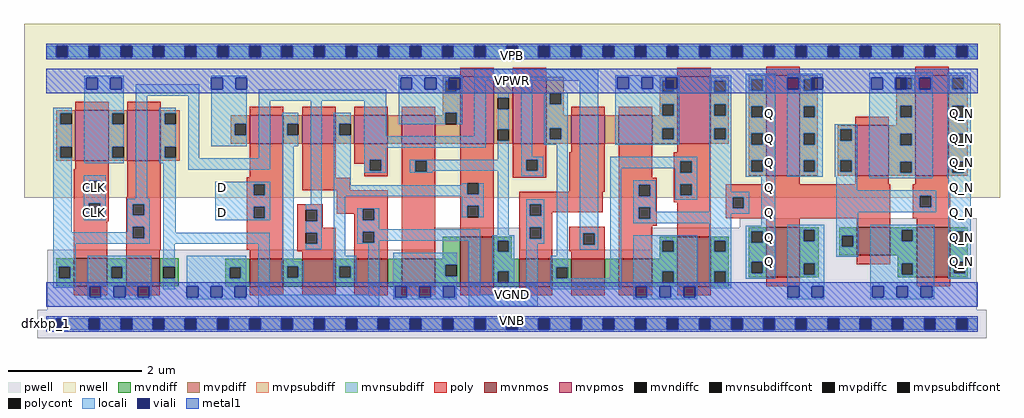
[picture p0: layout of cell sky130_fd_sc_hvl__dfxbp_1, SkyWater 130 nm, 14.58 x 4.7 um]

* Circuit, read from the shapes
.subckt sky130_fd_sc_hvl__dfxbp_1 CLK D VGND VNB VPB VPWR Q Q_N
XM1 VGND CLK n1 VNB sky130_fd_pr__nfet_g5v0d10v5 w=0.42 l=0.5
XM2 n2 n1 VGND VNB sky130_fd_pr__nfet_g5v0d10v5 w=0.42 l=0.5
XM3 n3 D VGND VNB sky130_fd_pr__nfet_g5v0d10v5 w=0.42 l=0.5
XM4 n4 n1 n3 VNB sky130_fd_pr__nfet_g5v0d10v5 w=0.42 l=0.5
XM5 n5 n2 n4 VNB sky130_fd_pr__nfet_g5v0d10v5 w=0.42 l=0.5
XM6 VGND n6 n5 VNB sky130_fd_pr__nfet_g5v0d10v5 w=0.42 l=0.5
XM7 n6 n4 VGND VNB sky130_fd_pr__nfet_g5v0d10v5 w=0.75 l=0.5
XM8 n7 n2 n6 VNB sky130_fd_pr__nfet_g5v0d10v5 w=0.42 l=0.5
XM9 n8 n1 n7 VNB sky130_fd_pr__nfet_g5v0d10v5 w=0.42 l=0.5
XM10 VGND n9 n8 VNB sky130_fd_pr__nfet_g5v0d10v5 w=0.42 l=0.5
XM11 n9 n7 VGND VNB sky130_fd_pr__nfet_g5v0d10v5 w=0.75 l=0.5
XM12 VGND n9 Q VNB sky130_fd_pr__nfet_g5v0d10v5 w=0.75 l=0.5
XM13 VGND n9 n10 VNB sky130_fd_pr__nfet_g5v0d10v5 w=0.42 l=0.5
XM14 Q_N n10 VGND VNB sky130_fd_pr__nfet_g5v0d10v5 w=0.75 l=0.5
XM15 VPWR CLK n1 VPB sky130_fd_pr__pfet_g5v0d10v5 w=0.75 l=0.5
XM16 n2 n1 VPWR VPB sky130_fd_pr__pfet_g5v0d10v5 w=0.75 l=0.5
XM17 n3 D VPWR VPB sky130_fd_pr__pfet_g5v0d10v5 w=0.42 l=0.5
XM18 n4 n2 n3 VPB sky130_fd_pr__pfet_g5v0d10v5 w=0.42 l=0.5
XM19 n11 n1 n4 VPB sky130_fd_pr__pfet_g5v0d10v5 w=0.42 l=0.5
XM20 VPWR n6 n11 VPB sky130_fd_pr__pfet_g5v0d10v5 w=0.42 l=0.5
XM21 n6 n4 VPWR VPB sky130_fd_pr__pfet_g5v0d10v5 w=1 l=0.5
XM22 n7 n1 n6 VPB sky130_fd_pr__pfet_g5v0d10v5 w=1 l=0.5
XM23 n12 n2 n7 VPB sky130_fd_pr__pfet_g5v0d10v5 w=0.42 l=0.5
XM24 VPWR n9 n12 VPB sky130_fd_pr__pfet_g5v0d10v5 w=0.42 l=0.5
XM25 n9 n7 VPWR VPB sky130_fd_pr__pfet_g5v0d10v5 w=1 l=0.5
XM26 VPWR n9 Q VPB sky130_fd_pr__pfet_g5v0d10v5 w=1.5 l=0.5
XM27 VPWR n9 n10 VPB sky130_fd_pr__pfet_g5v0d10v5 w=0.75 l=0.5
XM28 Q_N n10 VPWR VPB sky130_fd_pr__pfet_g5v0d10v5 w=1.5 l=0.5
.ends

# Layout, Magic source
magic
tech sky130B
magscale 1 2
<< nwell >>
rect -66 377 2850 897
<< pwell >>
rect 2073 287 2780 315
rect 4 221 422 222
rect 1159 221 1417 287
rect 1807 221 2780 287
rect 4 43 2780 221
rect -26 -43 2810 43
<< mvnmos >>
rect 83 112 183 196
rect 239 112 339 196
rect 609 111 709 195
rect 765 111 865 195
rect 921 111 1021 195
rect 1063 111 1163 195
rect 1238 111 1338 261
rect 1413 111 1513 195
rect 1569 111 1669 195
rect 1711 111 1811 195
rect 1886 111 1986 261
rect 2152 139 2252 289
rect 2422 205 2522 289
rect 2601 139 2701 289
<< mvpmos >>
rect 87 488 187 638
rect 243 488 343 638
rect 609 539 709 623
rect 765 539 865 623
rect 921 539 1021 623
rect 1063 539 1163 623
rect 1238 539 1338 739
rect 1394 539 1494 739
rect 1569 539 1669 623
rect 1711 539 1811 623
rect 1886 539 1986 739
rect 2152 443 2252 743
rect 2418 443 2518 593
rect 2597 443 2697 743
<< mvndiff >>
rect 30 171 83 196
rect 30 137 38 171
rect 72 137 83 171
rect 30 112 83 137
rect 183 171 239 196
rect 183 137 194 171
rect 228 137 239 171
rect 183 112 239 137
rect 339 171 396 196
rect 1185 195 1238 261
rect 339 137 350 171
rect 384 137 396 171
rect 339 112 396 137
rect 536 170 609 195
rect 536 136 548 170
rect 582 136 609 170
rect 536 111 609 136
rect 709 172 765 195
rect 709 138 720 172
rect 754 138 765 172
rect 709 111 765 138
rect 865 172 921 195
rect 865 138 876 172
rect 910 138 921 172
rect 865 111 921 138
rect 1021 111 1063 195
rect 1163 177 1238 195
rect 1163 143 1193 177
rect 1227 143 1238 177
rect 1163 111 1238 143
rect 1338 249 1391 261
rect 1338 215 1349 249
rect 1383 215 1391 249
rect 1338 195 1391 215
rect 2099 277 2152 289
rect 1833 249 1886 261
rect 1833 215 1841 249
rect 1875 215 1886 249
rect 1833 195 1886 215
rect 1338 157 1413 195
rect 1338 123 1349 157
rect 1383 123 1413 157
rect 1338 111 1413 123
rect 1513 170 1569 195
rect 1513 136 1524 170
rect 1558 136 1569 170
rect 1513 111 1569 136
rect 1669 111 1711 195
rect 1811 157 1886 195
rect 1811 123 1841 157
rect 1875 123 1886 157
rect 1811 111 1886 123
rect 1986 249 2039 261
rect 1986 215 1997 249
rect 2031 215 2039 249
rect 1986 157 2039 215
rect 1986 123 1997 157
rect 2031 123 2039 157
rect 2099 243 2107 277
rect 2141 243 2152 277
rect 2099 185 2152 243
rect 2099 151 2107 185
rect 2141 151 2152 185
rect 2099 139 2152 151
rect 2252 281 2309 289
rect 2252 247 2263 281
rect 2297 247 2309 281
rect 2252 181 2309 247
rect 2369 264 2422 289
rect 2369 230 2377 264
rect 2411 230 2422 264
rect 2369 205 2422 230
rect 2522 281 2601 289
rect 2522 247 2556 281
rect 2590 247 2601 281
rect 2522 205 2601 247
rect 2252 147 2263 181
rect 2297 147 2309 181
rect 2544 181 2601 205
rect 2252 139 2309 147
rect 2544 147 2556 181
rect 2590 147 2601 181
rect 2544 139 2601 147
rect 2701 277 2754 289
rect 2701 243 2712 277
rect 2746 243 2754 277
rect 2701 185 2754 243
rect 2701 151 2712 185
rect 2746 151 2754 185
rect 2701 139 2754 151
rect 1986 111 2039 123
<< mvpdiff >>
rect 1185 727 1238 739
rect 1185 693 1193 727
rect 1227 693 1238 727
rect 30 630 87 638
rect 30 596 42 630
rect 76 596 87 630
rect 30 530 87 596
rect 30 496 42 530
rect 76 496 87 530
rect 30 488 87 496
rect 187 630 243 638
rect 187 596 198 630
rect 232 596 243 630
rect 187 530 243 596
rect 187 496 198 530
rect 232 496 243 530
rect 187 488 243 496
rect 343 630 400 638
rect 343 596 354 630
rect 388 596 400 630
rect 1185 631 1238 693
rect 1185 623 1193 631
rect 343 530 400 596
rect 552 598 609 623
rect 552 564 564 598
rect 598 564 609 598
rect 552 539 609 564
rect 709 598 765 623
rect 709 564 720 598
rect 754 564 765 598
rect 709 539 765 564
rect 865 598 921 623
rect 865 564 876 598
rect 910 564 921 598
rect 865 539 921 564
rect 1021 539 1063 623
rect 1163 597 1193 623
rect 1227 597 1238 631
rect 1163 539 1238 597
rect 1338 675 1394 739
rect 1338 641 1349 675
rect 1383 641 1394 675
rect 1338 581 1394 641
rect 1338 547 1349 581
rect 1383 547 1394 581
rect 1338 539 1394 547
rect 1494 691 1547 739
rect 1494 657 1505 691
rect 1539 657 1547 691
rect 1494 623 1547 657
rect 1833 727 1886 739
rect 1833 693 1841 727
rect 1875 693 1886 727
rect 1833 656 1886 693
rect 1833 623 1841 656
rect 1494 585 1569 623
rect 1494 551 1505 585
rect 1539 551 1569 585
rect 1494 539 1569 551
rect 1669 539 1711 623
rect 1811 622 1841 623
rect 1875 622 1886 656
rect 1811 585 1886 622
rect 1811 551 1841 585
rect 1875 551 1886 585
rect 1811 539 1886 551
rect 1986 727 2039 739
rect 1986 693 1997 727
rect 2031 693 2039 727
rect 1986 656 2039 693
rect 1986 622 1997 656
rect 2031 622 2039 656
rect 1986 585 2039 622
rect 1986 551 1997 585
rect 2031 551 2039 585
rect 1986 539 2039 551
rect 2099 731 2152 743
rect 2099 697 2107 731
rect 2141 697 2152 731
rect 2099 651 2152 697
rect 2099 617 2107 651
rect 2141 617 2152 651
rect 2099 569 2152 617
rect 343 496 354 530
rect 388 496 400 530
rect 343 488 400 496
rect 2099 535 2107 569
rect 2141 535 2152 569
rect 2099 489 2152 535
rect 2099 455 2107 489
rect 2141 455 2152 489
rect 2099 443 2152 455
rect 2252 731 2305 743
rect 2252 697 2263 731
rect 2297 697 2305 731
rect 2252 651 2305 697
rect 2252 617 2263 651
rect 2297 617 2305 651
rect 2540 735 2597 743
rect 2540 701 2552 735
rect 2586 701 2597 735
rect 2540 652 2597 701
rect 2252 569 2305 617
rect 2540 618 2552 652
rect 2586 618 2597 652
rect 2540 593 2597 618
rect 2252 535 2263 569
rect 2297 535 2305 569
rect 2252 489 2305 535
rect 2252 455 2263 489
rect 2297 455 2305 489
rect 2252 443 2305 455
rect 2365 581 2418 593
rect 2365 547 2373 581
rect 2407 547 2418 581
rect 2365 489 2418 547
rect 2365 455 2373 489
rect 2407 455 2418 489
rect 2365 443 2418 455
rect 2518 568 2597 593
rect 2518 534 2552 568
rect 2586 534 2597 568
rect 2518 485 2597 534
rect 2518 451 2552 485
rect 2586 451 2597 485
rect 2518 443 2597 451
rect 2697 735 2754 743
rect 2697 701 2708 735
rect 2742 701 2754 735
rect 2697 652 2754 701
rect 2697 618 2708 652
rect 2742 618 2754 652
rect 2697 568 2754 618
rect 2697 534 2708 568
rect 2742 534 2754 568
rect 2697 485 2754 534
rect 2697 451 2708 485
rect 2742 451 2754 485
rect 2697 443 2754 451
<< mvndiffc >>
rect 38 137 72 171
rect 194 137 228 171
rect 350 137 384 171
rect 548 136 582 170
rect 720 138 754 172
rect 876 138 910 172
rect 1193 143 1227 177
rect 1349 215 1383 249
rect 1841 215 1875 249
rect 1349 123 1383 157
rect 1524 136 1558 170
rect 1841 123 1875 157
rect 1997 215 2031 249
rect 1997 123 2031 157
rect 2107 243 2141 277
rect 2107 151 2141 185
rect 2263 247 2297 281
rect 2377 230 2411 264
rect 2556 247 2590 281
rect 2263 147 2297 181
rect 2556 147 2590 181
rect 2712 243 2746 277
rect 2712 151 2746 185
<< mvpdiffc >>
rect 1193 693 1227 727
rect 42 596 76 630
rect 42 496 76 530
rect 198 596 232 630
rect 198 496 232 530
rect 354 596 388 630
rect 564 564 598 598
rect 720 564 754 598
rect 876 564 910 598
rect 1193 597 1227 631
rect 1349 641 1383 675
rect 1349 547 1383 581
rect 1505 657 1539 691
rect 1841 693 1875 727
rect 1505 551 1539 585
rect 1841 622 1875 656
rect 1841 551 1875 585
rect 1997 693 2031 727
rect 1997 622 2031 656
rect 1997 551 2031 585
rect 2107 697 2141 731
rect 2107 617 2141 651
rect 354 496 388 530
rect 2107 535 2141 569
rect 2107 455 2141 489
rect 2263 697 2297 731
rect 2263 617 2297 651
rect 2552 701 2586 735
rect 2552 618 2586 652
rect 2263 535 2297 569
rect 2263 455 2297 489
rect 2373 547 2407 581
rect 2373 455 2407 489
rect 2552 534 2586 568
rect 2552 451 2586 485
rect 2708 701 2742 735
rect 2708 618 2742 652
rect 2708 534 2742 568
rect 2708 451 2742 485
<< mvpsubdiff >>
rect 0 -17 31 17
rect 65 -17 127 17
rect 161 -17 223 17
rect 257 -17 319 17
rect 353 -17 415 17
rect 449 -17 511 17
rect 545 -17 607 17
rect 641 -17 703 17
rect 737 -17 799 17
rect 833 -17 895 17
rect 929 -17 991 17
rect 1025 -17 1087 17
rect 1121 -17 1183 17
rect 1217 -17 1279 17
rect 1313 -17 1375 17
rect 1409 -17 1471 17
rect 1505 -17 1567 17
rect 1601 -17 1663 17
rect 1697 -17 1759 17
rect 1793 -17 1855 17
rect 1889 -17 1951 17
rect 1985 -17 2047 17
rect 2081 -17 2143 17
rect 2177 -17 2239 17
rect 2273 -17 2335 17
rect 2369 -17 2431 17
rect 2465 -17 2527 17
rect 2561 -17 2623 17
rect 2657 -17 2719 17
rect 2753 -17 2784 17
<< mvnsubdiff >>
rect 0 797 31 831
rect 65 797 127 831
rect 161 797 223 831
rect 257 797 319 831
rect 353 797 415 831
rect 449 797 511 831
rect 545 797 607 831
rect 641 797 703 831
rect 737 797 799 831
rect 833 797 895 831
rect 929 797 991 831
rect 1025 797 1087 831
rect 1121 797 1183 831
rect 1217 797 1279 831
rect 1313 797 1375 831
rect 1409 797 1471 831
rect 1505 797 1567 831
rect 1601 797 1663 831
rect 1697 797 1759 831
rect 1793 797 1855 831
rect 1889 797 1951 831
rect 1985 797 2047 831
rect 2081 797 2143 831
rect 2177 797 2239 831
rect 2273 797 2335 831
rect 2369 797 2431 831
rect 2465 797 2527 831
rect 2561 797 2623 831
rect 2657 797 2719 831
rect 2753 797 2784 831
<< mvpsubdiffcont >>
rect 31 -17 65 17
rect 127 -17 161 17
rect 223 -17 257 17
rect 319 -17 353 17
rect 415 -17 449 17
rect 511 -17 545 17
rect 607 -17 641 17
rect 703 -17 737 17
rect 799 -17 833 17
rect 895 -17 929 17
rect 991 -17 1025 17
rect 1087 -17 1121 17
rect 1183 -17 1217 17
rect 1279 -17 1313 17
rect 1375 -17 1409 17
rect 1471 -17 1505 17
rect 1567 -17 1601 17
rect 1663 -17 1697 17
rect 1759 -17 1793 17
rect 1855 -17 1889 17
rect 1951 -17 1985 17
rect 2047 -17 2081 17
rect 2143 -17 2177 17
rect 2239 -17 2273 17
rect 2335 -17 2369 17
rect 2431 -17 2465 17
rect 2527 -17 2561 17
rect 2623 -17 2657 17
rect 2719 -17 2753 17
<< mvnsubdiffcont >>
rect 31 797 65 831
rect 127 797 161 831
rect 223 797 257 831
rect 319 797 353 831
rect 415 797 449 831
rect 511 797 545 831
rect 607 797 641 831
rect 703 797 737 831
rect 799 797 833 831
rect 895 797 929 831
rect 991 797 1025 831
rect 1087 797 1121 831
rect 1183 797 1217 831
rect 1279 797 1313 831
rect 1375 797 1409 831
rect 1471 797 1505 831
rect 1567 797 1601 831
rect 1663 797 1697 831
rect 1759 797 1793 831
rect 1855 797 1889 831
rect 1951 797 1985 831
rect 2047 797 2081 831
rect 2143 797 2177 831
rect 2239 797 2273 831
rect 2335 797 2369 831
rect 2431 797 2465 831
rect 2527 797 2561 831
rect 2623 797 2657 831
rect 2719 797 2753 831
<< poly >>
rect 1238 739 1338 765
rect 1394 739 1494 765
rect 1886 739 1986 765
rect 2152 743 2252 769
rect 2597 743 2697 769
rect 87 638 187 664
rect 243 638 343 664
rect 609 623 709 649
rect 765 623 865 649
rect 921 623 1021 649
rect 1063 623 1163 649
rect 1569 623 1669 649
rect 1711 623 1811 649
rect 87 462 187 488
rect 83 428 187 462
rect 83 394 128 428
rect 162 394 187 428
rect 83 360 187 394
rect 243 378 343 488
rect 609 438 709 539
rect 83 326 128 360
rect 162 326 187 360
rect 83 306 187 326
rect 239 358 343 378
rect 239 324 259 358
rect 293 324 343 358
rect 83 196 183 306
rect 239 290 343 324
rect 239 256 259 290
rect 293 256 343 290
rect 239 222 343 256
rect 600 418 709 438
rect 600 384 620 418
rect 654 384 709 418
rect 765 437 865 539
rect 921 491 1021 539
rect 921 479 967 491
rect 951 457 967 479
rect 1001 457 1021 491
rect 951 441 1021 457
rect 1063 488 1163 539
rect 1063 454 1103 488
rect 1137 454 1163 488
rect 765 399 909 437
rect 600 350 709 384
rect 600 316 620 350
rect 654 316 709 350
rect 239 196 339 222
rect 600 221 709 316
rect 609 195 709 221
rect 751 341 826 357
rect 751 307 776 341
rect 810 307 826 341
rect 868 344 1021 399
rect 868 329 946 344
rect 751 287 826 307
rect 921 310 946 329
rect 980 310 1021 344
rect 751 273 865 287
rect 751 239 776 273
rect 810 239 865 273
rect 751 217 865 239
rect 765 195 865 217
rect 921 276 1021 310
rect 921 242 946 276
rect 980 242 1021 276
rect 921 195 1021 242
rect 1063 195 1163 454
rect 1238 421 1338 539
rect 1394 491 1494 539
rect 1569 513 1669 539
rect 1394 457 1435 491
rect 1469 457 1494 491
rect 1394 437 1494 457
rect 1238 387 1258 421
rect 1292 387 1338 421
rect 1563 395 1669 513
rect 1711 436 1811 539
rect 1886 513 1986 539
rect 1875 486 1986 513
rect 1875 452 1895 486
rect 1929 452 1986 486
rect 1711 416 1825 436
rect 1238 353 1338 387
rect 1238 319 1258 353
rect 1292 319 1338 353
rect 1238 261 1338 319
rect 1413 357 1663 395
rect 1413 323 1445 357
rect 1479 333 1663 357
rect 1711 382 1771 416
rect 1805 382 1825 416
rect 1711 348 1825 382
rect 1875 418 1986 452
rect 2418 593 2518 619
rect 1875 384 1895 418
rect 1929 384 1986 418
rect 2152 417 2252 443
rect 2418 417 2518 443
rect 2597 417 2697 443
rect 1875 364 1986 384
rect 1479 323 1513 333
rect 1413 289 1513 323
rect 1711 314 1771 348
rect 1805 314 1825 348
rect 1711 294 1825 314
rect 83 86 183 112
rect 239 86 339 112
rect 1413 255 1445 289
rect 1479 255 1513 289
rect 1413 195 1513 255
rect 1563 271 1669 291
rect 1563 237 1605 271
rect 1639 237 1669 271
rect 1563 217 1669 237
rect 1569 195 1669 217
rect 1711 195 1811 294
rect 1886 261 1986 364
rect 2031 379 2522 417
rect 2031 345 2051 379
rect 2085 345 2522 379
rect 2031 315 2522 345
rect 2590 383 2701 417
rect 2590 349 2610 383
rect 2644 349 2701 383
rect 2590 315 2701 349
rect 2152 289 2252 315
rect 2422 289 2522 315
rect 2601 289 2701 315
rect 2422 179 2522 205
rect 2152 113 2252 139
rect 2601 113 2701 139
rect 609 85 709 111
rect 765 85 865 111
rect 921 85 1021 111
rect 1063 85 1163 111
rect 1238 85 1338 111
rect 1413 85 1513 111
rect 1569 85 1669 111
rect 1711 85 1811 111
rect 1886 85 1986 111
<< polycont >>
rect 128 394 162 428
rect 128 326 162 360
rect 259 324 293 358
rect 259 256 293 290
rect 620 384 654 418
rect 967 457 1001 491
rect 1103 454 1137 488
rect 620 316 654 350
rect 776 307 810 341
rect 946 310 980 344
rect 776 239 810 273
rect 946 242 980 276
rect 1435 457 1469 491
rect 1258 387 1292 421
rect 1895 452 1929 486
rect 1258 319 1292 353
rect 1445 323 1479 357
rect 1771 382 1805 416
rect 1895 384 1929 418
rect 1771 314 1805 348
rect 1445 255 1479 289
rect 1605 237 1639 271
rect 2051 345 2085 379
rect 2610 349 2644 383
<< locali >>
rect 0 797 31 831
rect 65 797 127 831
rect 161 797 223 831
rect 257 797 319 831
rect 353 797 415 831
rect 449 797 511 831
rect 545 797 607 831
rect 641 797 703 831
rect 737 797 799 831
rect 833 797 895 831
rect 929 797 991 831
rect 1025 797 1087 831
rect 1121 797 1183 831
rect 1217 797 1279 831
rect 1313 797 1375 831
rect 1409 797 1471 831
rect 1505 797 1567 831
rect 1601 797 1663 831
rect 1697 797 1759 831
rect 1793 797 1855 831
rect 1889 797 1951 831
rect 1985 797 2047 831
rect 2081 797 2143 831
rect 2177 797 2239 831
rect 2273 797 2335 831
rect 2369 797 2431 831
rect 2465 797 2527 831
rect 2561 797 2623 831
rect 2657 797 2719 831
rect 2753 797 2784 831
rect 114 735 232 741
rect 114 701 120 735
rect 154 701 192 735
rect 226 701 232 735
rect 494 735 600 741
rect 22 630 76 646
rect 22 596 42 630
rect 22 530 76 596
rect 22 496 42 530
rect 22 274 76 496
rect 114 630 232 701
rect 114 596 198 630
rect 114 530 232 596
rect 114 496 198 530
rect 114 480 232 496
rect 268 682 458 716
rect 112 428 178 444
rect 112 394 128 428
rect 162 394 178 428
rect 112 360 178 394
rect 268 374 302 682
rect 338 630 388 646
rect 338 596 354 630
rect 338 530 388 596
rect 338 496 354 530
rect 338 480 388 496
rect 112 326 128 360
rect 162 326 178 360
rect 112 310 178 326
rect 243 358 309 374
rect 243 324 259 358
rect 293 324 309 358
rect 243 290 309 324
rect 243 274 259 290
rect 22 256 259 274
rect 293 256 309 290
rect 22 240 309 256
rect 350 273 388 480
rect 424 495 458 682
rect 528 701 566 735
rect 1053 735 1243 743
rect 1053 701 1059 735
rect 1093 701 1131 735
rect 1165 727 1203 735
rect 1165 701 1193 727
rect 1237 701 1243 735
rect 494 598 600 701
rect 494 564 564 598
rect 598 564 600 598
rect 494 531 600 564
rect 636 667 1017 701
rect 636 495 670 667
rect 424 461 670 495
rect 706 598 754 631
rect 706 564 720 598
rect 706 531 754 564
rect 505 418 670 425
rect 505 384 620 418
rect 654 384 670 418
rect 505 350 670 384
rect 505 316 620 350
rect 654 316 670 350
rect 505 309 670 316
rect 22 171 88 240
rect 350 239 668 273
rect 22 137 38 171
rect 72 137 88 171
rect 22 108 88 137
rect 124 171 314 204
rect 124 137 194 171
rect 228 137 314 171
rect 124 113 314 137
rect 124 79 130 113
rect 164 79 202 113
rect 236 79 274 113
rect 308 79 314 113
rect 350 171 384 239
rect 350 104 384 137
rect 420 170 598 203
rect 420 136 548 170
rect 582 136 598 170
rect 420 113 598 136
rect 124 73 314 79
rect 454 79 492 113
rect 526 79 564 113
rect 420 73 598 79
rect 634 87 668 239
rect 706 187 740 531
rect 790 357 824 667
rect 776 341 824 357
rect 810 307 824 341
rect 776 273 824 307
rect 810 239 824 273
rect 776 223 824 239
rect 860 598 910 631
rect 860 564 876 598
rect 860 415 910 564
rect 951 561 1017 667
rect 1053 693 1193 701
rect 1227 693 1243 701
rect 1053 631 1243 693
rect 1053 597 1193 631
rect 1227 597 1243 631
rect 1279 727 1649 761
rect 1279 561 1313 727
rect 951 527 1313 561
rect 1349 675 1383 691
rect 1349 581 1383 641
rect 951 491 1017 527
rect 1349 491 1383 547
rect 951 457 967 491
rect 1001 457 1017 491
rect 951 451 1017 457
rect 1087 488 1383 491
rect 1087 454 1103 488
rect 1137 457 1383 488
rect 1137 454 1153 457
rect 1087 451 1153 454
rect 1242 415 1258 421
rect 860 387 1258 415
rect 1292 387 1308 421
rect 860 381 1308 387
rect 860 203 894 381
rect 1242 353 1308 381
rect 930 344 996 345
rect 930 310 946 344
rect 980 310 996 344
rect 1242 319 1258 353
rect 1292 319 1308 353
rect 930 283 996 310
rect 930 276 1297 283
rect 930 242 946 276
rect 980 249 1297 276
rect 1349 265 1383 457
rect 1419 499 1453 727
rect 1489 657 1505 691
rect 1539 657 1559 691
rect 1489 585 1559 657
rect 1489 551 1505 585
rect 1539 551 1559 585
rect 1489 535 1559 551
rect 1419 491 1485 499
rect 1419 457 1435 491
rect 1469 457 1485 491
rect 1419 441 1485 457
rect 1435 357 1489 373
rect 1435 323 1445 357
rect 1479 323 1489 357
rect 1435 289 1489 323
rect 980 242 996 249
rect 930 239 996 242
rect 704 172 770 187
rect 704 138 720 172
rect 754 138 770 172
rect 704 123 770 138
rect 860 172 926 203
rect 860 138 876 172
rect 910 138 926 172
rect 860 123 926 138
rect 962 87 996 239
rect 634 53 996 87
rect 1037 177 1227 213
rect 1037 143 1193 177
rect 1037 113 1227 143
rect 1037 79 1043 113
rect 1077 79 1115 113
rect 1149 79 1187 113
rect 1221 79 1227 113
rect 1037 73 1227 79
rect 1263 87 1297 249
rect 1333 249 1399 265
rect 1333 215 1349 249
rect 1383 215 1399 249
rect 1333 157 1399 215
rect 1333 123 1349 157
rect 1383 123 1399 157
rect 1435 255 1445 289
rect 1479 255 1489 289
rect 1435 239 1489 255
rect 1435 87 1469 239
rect 1525 203 1559 535
rect 1595 271 1649 727
rect 1701 737 1891 743
rect 1701 703 1707 737
rect 1741 703 1779 737
rect 1813 727 1851 737
rect 1813 703 1841 727
rect 1885 703 1891 737
rect 1701 693 1841 703
rect 1875 693 1891 703
rect 1701 656 1891 693
rect 1701 622 1841 656
rect 1875 622 1891 656
rect 1701 585 1891 622
rect 1701 551 1841 585
rect 1875 551 1891 585
rect 1701 535 1891 551
rect 1981 727 2047 743
rect 1981 693 1997 727
rect 2031 693 2047 727
rect 1981 656 2047 693
rect 1981 622 1997 656
rect 2031 622 2047 656
rect 1981 585 2047 622
rect 1981 551 1997 585
rect 2031 551 2047 585
rect 1595 237 1605 271
rect 1639 237 1649 271
rect 1595 221 1649 237
rect 1685 486 1945 499
rect 1685 465 1895 486
rect 1508 170 1559 203
rect 1508 136 1524 170
rect 1558 137 1559 170
rect 1685 137 1719 465
rect 1879 452 1895 465
rect 1929 452 1945 486
rect 1755 416 1821 429
rect 1755 382 1771 416
rect 1805 382 1821 416
rect 1755 348 1821 382
rect 1879 418 1945 452
rect 1879 384 1895 418
rect 1929 384 1945 418
rect 1879 371 1945 384
rect 1981 395 2047 551
rect 2091 731 2178 747
rect 2091 697 2107 731
rect 2141 697 2178 731
rect 2091 651 2178 697
rect 2091 617 2107 651
rect 2141 617 2178 651
rect 2091 569 2178 617
rect 2091 535 2107 569
rect 2141 535 2178 569
rect 2091 489 2178 535
rect 2091 455 2107 489
rect 2141 455 2178 489
rect 2091 439 2178 455
rect 2214 735 2321 747
rect 2248 731 2286 735
rect 2248 701 2263 731
rect 2320 701 2321 735
rect 2214 697 2263 701
rect 2297 697 2321 701
rect 2214 651 2321 697
rect 2214 617 2263 651
rect 2297 617 2321 651
rect 2214 569 2321 617
rect 2459 735 2649 751
rect 2459 701 2465 735
rect 2499 701 2537 735
rect 2586 701 2609 735
rect 2643 701 2649 735
rect 2459 652 2649 701
rect 2459 618 2552 652
rect 2586 618 2649 652
rect 2214 535 2263 569
rect 2297 535 2321 569
rect 2214 489 2321 535
rect 2214 455 2263 489
rect 2297 455 2321 489
rect 2214 439 2321 455
rect 2357 581 2423 597
rect 2357 547 2373 581
rect 2407 547 2423 581
rect 2357 489 2423 547
rect 2357 455 2373 489
rect 2407 455 2423 489
rect 2357 439 2423 455
rect 1981 379 2101 395
rect 1755 314 1771 348
rect 1805 335 1821 348
rect 1981 345 2051 379
rect 2085 345 2101 379
rect 1981 335 2101 345
rect 1805 329 2101 335
rect 1805 314 2047 329
rect 1755 301 2047 314
rect 1558 136 1719 137
rect 1508 103 1719 136
rect 1755 249 1945 265
rect 1755 215 1841 249
rect 1875 215 1945 249
rect 1755 157 1945 215
rect 1755 123 1841 157
rect 1875 123 1945 157
rect 1755 113 1945 123
rect 1263 53 1469 87
rect 1755 79 1761 113
rect 1795 79 1833 113
rect 1867 79 1905 113
rect 1939 79 1945 113
rect 1981 249 2047 301
rect 2137 293 2178 439
rect 2361 399 2423 439
rect 2459 568 2649 618
rect 2459 534 2552 568
rect 2586 534 2649 568
rect 2459 485 2649 534
rect 2459 451 2552 485
rect 2586 451 2649 485
rect 2459 435 2649 451
rect 2692 735 2762 751
rect 2692 701 2708 735
rect 2742 701 2762 735
rect 2692 652 2762 701
rect 2692 618 2708 652
rect 2742 618 2762 652
rect 2692 568 2762 618
rect 2692 534 2708 568
rect 2742 534 2762 568
rect 2692 485 2762 534
rect 2692 451 2708 485
rect 2742 451 2762 485
rect 2692 435 2762 451
rect 2361 383 2660 399
rect 2361 349 2610 383
rect 2644 349 2660 383
rect 2361 333 2660 349
rect 1981 215 1997 249
rect 2031 215 2047 249
rect 1981 157 2047 215
rect 1981 123 1997 157
rect 2031 123 2047 157
rect 2091 277 2178 293
rect 2091 243 2107 277
rect 2141 243 2178 277
rect 2091 185 2178 243
rect 2091 151 2107 185
rect 2141 151 2178 185
rect 2091 135 2178 151
rect 2214 281 2325 297
rect 2214 247 2263 281
rect 2297 247 2325 281
rect 2214 181 2325 247
rect 2361 264 2427 333
rect 2361 230 2377 264
rect 2411 230 2427 264
rect 2361 201 2427 230
rect 2463 281 2653 297
rect 2463 247 2556 281
rect 2590 247 2653 281
rect 2214 147 2263 181
rect 2297 147 2325 181
rect 1981 107 2047 123
rect 2214 113 2325 147
rect 1755 73 1945 79
rect 2214 79 2216 113
rect 2250 79 2288 113
rect 2322 79 2325 113
rect 2214 73 2325 79
rect 2463 181 2653 247
rect 2463 147 2556 181
rect 2590 147 2653 181
rect 2463 113 2653 147
rect 2696 277 2762 435
rect 2696 243 2712 277
rect 2746 243 2762 277
rect 2696 185 2762 243
rect 2696 151 2712 185
rect 2746 151 2762 185
rect 2696 135 2762 151
rect 2463 79 2469 113
rect 2503 79 2541 113
rect 2575 79 2613 113
rect 2647 79 2653 113
rect 2463 73 2653 79
rect 0 -17 31 17
rect 65 -17 127 17
rect 161 -17 223 17
rect 257 -17 319 17
rect 353 -17 415 17
rect 449 -17 511 17
rect 545 -17 607 17
rect 641 -17 703 17
rect 737 -17 799 17
rect 833 -17 895 17
rect 929 -17 991 17
rect 1025 -17 1087 17
rect 1121 -17 1183 17
rect 1217 -17 1279 17
rect 1313 -17 1375 17
rect 1409 -17 1471 17
rect 1505 -17 1567 17
rect 1601 -17 1663 17
rect 1697 -17 1759 17
rect 1793 -17 1855 17
rect 1889 -17 1951 17
rect 1985 -17 2047 17
rect 2081 -17 2143 17
rect 2177 -17 2239 17
rect 2273 -17 2335 17
rect 2369 -17 2431 17
rect 2465 -17 2527 17
rect 2561 -17 2623 17
rect 2657 -17 2719 17
rect 2753 -17 2784 17
<< viali >>
rect 31 797 65 831
rect 127 797 161 831
rect 223 797 257 831
rect 319 797 353 831
rect 415 797 449 831
rect 511 797 545 831
rect 607 797 641 831
rect 703 797 737 831
rect 799 797 833 831
rect 895 797 929 831
rect 991 797 1025 831
rect 1087 797 1121 831
rect 1183 797 1217 831
rect 1279 797 1313 831
rect 1375 797 1409 831
rect 1471 797 1505 831
rect 1567 797 1601 831
rect 1663 797 1697 831
rect 1759 797 1793 831
rect 1855 797 1889 831
rect 1951 797 1985 831
rect 2047 797 2081 831
rect 2143 797 2177 831
rect 2239 797 2273 831
rect 2335 797 2369 831
rect 2431 797 2465 831
rect 2527 797 2561 831
rect 2623 797 2657 831
rect 2719 797 2753 831
rect 120 701 154 735
rect 192 701 226 735
rect 494 701 528 735
rect 566 701 600 735
rect 1059 701 1093 735
rect 1131 701 1165 735
rect 1203 727 1237 735
rect 1203 701 1227 727
rect 1227 701 1237 727
rect 130 79 164 113
rect 202 79 236 113
rect 274 79 308 113
rect 420 79 454 113
rect 492 79 526 113
rect 564 79 598 113
rect 1043 79 1077 113
rect 1115 79 1149 113
rect 1187 79 1221 113
rect 1707 703 1741 737
rect 1779 703 1813 737
rect 1851 727 1885 737
rect 1851 703 1875 727
rect 1875 703 1885 727
rect 2214 701 2248 735
rect 2286 731 2320 735
rect 2286 701 2297 731
rect 2297 701 2320 731
rect 2465 701 2499 735
rect 2537 701 2552 735
rect 2552 701 2571 735
rect 2609 701 2643 735
rect 1761 79 1795 113
rect 1833 79 1867 113
rect 1905 79 1939 113
rect 2216 79 2250 113
rect 2288 79 2322 113
rect 2469 79 2503 113
rect 2541 79 2575 113
rect 2613 79 2647 113
rect 31 -17 65 17
rect 127 -17 161 17
rect 223 -17 257 17
rect 319 -17 353 17
rect 415 -17 449 17
rect 511 -17 545 17
rect 607 -17 641 17
rect 703 -17 737 17
rect 799 -17 833 17
rect 895 -17 929 17
rect 991 -17 1025 17
rect 1087 -17 1121 17
rect 1183 -17 1217 17
rect 1279 -17 1313 17
rect 1375 -17 1409 17
rect 1471 -17 1505 17
rect 1567 -17 1601 17
rect 1663 -17 1697 17
rect 1759 -17 1793 17
rect 1855 -17 1889 17
rect 1951 -17 1985 17
rect 2047 -17 2081 17
rect 2143 -17 2177 17
rect 2239 -17 2273 17
rect 2335 -17 2369 17
rect 2431 -17 2465 17
rect 2527 -17 2561 17
rect 2623 -17 2657 17
rect 2719 -17 2753 17
<< metal1 >>
rect 0 831 2784 837
rect 0 797 31 831
rect 65 797 127 831
rect 161 797 223 831
rect 257 797 319 831
rect 353 797 415 831
rect 449 797 511 831
rect 545 797 607 831
rect 641 797 703 831
rect 737 797 799 831
rect 833 797 895 831
rect 929 797 991 831
rect 1025 797 1087 831
rect 1121 797 1183 831
rect 1217 797 1279 831
rect 1313 797 1375 831
rect 1409 797 1471 831
rect 1505 797 1567 831
rect 1601 797 1663 831
rect 1697 797 1759 831
rect 1793 797 1855 831
rect 1889 797 1951 831
rect 1985 797 2047 831
rect 2081 797 2143 831
rect 2177 797 2239 831
rect 2273 797 2335 831
rect 2369 797 2431 831
rect 2465 797 2527 831
rect 2561 797 2623 831
rect 2657 797 2719 831
rect 2753 797 2784 831
rect 0 791 2784 797
rect 0 737 2784 763
rect 0 735 1707 737
rect 0 701 120 735
rect 154 701 192 735
rect 226 701 494 735
rect 528 701 566 735
rect 600 701 1059 735
rect 1093 701 1131 735
rect 1165 701 1203 735
rect 1237 703 1707 735
rect 1741 703 1779 737
rect 1813 703 1851 737
rect 1885 735 2784 737
rect 1885 703 2214 735
rect 1237 701 2214 703
rect 2248 701 2286 735
rect 2320 701 2465 735
rect 2499 701 2537 735
rect 2571 701 2609 735
rect 2643 701 2784 735
rect 0 689 2784 701
rect 0 113 2784 125
rect 0 79 130 113
rect 164 79 202 113
rect 236 79 274 113
rect 308 79 420 113
rect 454 79 492 113
rect 526 79 564 113
rect 598 79 1043 113
rect 1077 79 1115 113
rect 1149 79 1187 113
rect 1221 79 1761 113
rect 1795 79 1833 113
rect 1867 79 1905 113
rect 1939 79 2216 113
rect 2250 79 2288 113
rect 2322 79 2469 113
rect 2503 79 2541 113
rect 2575 79 2613 113
rect 2647 79 2784 113
rect 0 51 2784 79
rect 0 17 2784 23
rect 0 -17 31 17
rect 65 -17 127 17
rect 161 -17 223 17
rect 257 -17 319 17
rect 353 -17 415 17
rect 449 -17 511 17
rect 545 -17 607 17
rect 641 -17 703 17
rect 737 -17 799 17
rect 833 -17 895 17
rect 929 -17 991 17
rect 1025 -17 1087 17
rect 1121 -17 1183 17
rect 1217 -17 1279 17
rect 1313 -17 1375 17
rect 1409 -17 1471 17
rect 1505 -17 1567 17
rect 1601 -17 1663 17
rect 1697 -17 1759 17
rect 1793 -17 1855 17
rect 1889 -17 1951 17
rect 1985 -17 2047 17
rect 2081 -17 2143 17
rect 2177 -17 2239 17
rect 2273 -17 2335 17
rect 2369 -17 2431 17
rect 2465 -17 2527 17
rect 2561 -17 2623 17
rect 2657 -17 2719 17
rect 2753 -17 2784 17
rect 0 -23 2784 -17
<< labels >>
rlabel comment s 0 0 0 0 4 dfxbp_1
flabel metal1 s 0 51 2784 125 0 FreeSans 340 0 0 0 VGND
port 3 nsew ground bidirectional
flabel metal1 s 0 0 2784 23 0 FreeSans 340 0 0 0 VNB
port 4 nsew ground bidirectional
flabel metal1 s 0 689 2784 763 0 FreeSans 340 0 0 0 VPWR
port 6 nsew power bidirectional
flabel metal1 s 0 791 2784 814 0 FreeSans 340 0 0 0 VPB
port 5 nsew power bidirectional
flabel locali s 127 316 161 350 0 FreeSans 340 0 0 0 CLK
port 1 nsew clock input
flabel locali s 127 390 161 424 0 FreeSans 340 0 0 0 CLK
port 1 nsew clock input
flabel locali s 2719 168 2753 202 0 FreeSans 340 0 0 0 Q_N
port 8 nsew signal output
flabel locali s 2719 242 2753 276 0 FreeSans 340 0 0 0 Q_N
port 8 nsew signal output
flabel locali s 2719 316 2753 350 0 FreeSans 340 0 0 0 Q_N
port 8 nsew signal output
flabel locali s 2719 390 2753 424 0 FreeSans 340 0 0 0 Q_N
port 8 nsew signal output
flabel locali s 2719 464 2753 498 0 FreeSans 340 0 0 0 Q_N
port 8 nsew signal output
flabel locali s 2719 538 2753 572 0 FreeSans 340 0 0 0 Q_N
port 8 nsew signal output
flabel locali s 2719 612 2753 646 0 FreeSans 340 0 0 0 Q_N
port 8 nsew signal output
flabel locali s 511 316 545 350 0 FreeSans 340 0 0 0 D
port 2 nsew signal input
flabel locali s 511 390 545 424 0 FreeSans 340 0 0 0 D
port 2 nsew signal input
flabel locali s 2143 168 2177 202 0 FreeSans 340 0 0 0 Q
port 7 nsew signal output
flabel locali s 2143 242 2177 276 0 FreeSans 340 0 0 0 Q
port 7 nsew signal output
flabel locali s 2143 316 2177 350 0 FreeSans 340 0 0 0 Q
port 7 nsew signal output
flabel locali s 2143 390 2177 424 0 FreeSans 340 0 0 0 Q
port 7 nsew signal output
flabel locali s 2143 464 2177 498 0 FreeSans 340 0 0 0 Q
port 7 nsew signal output
flabel locali s 2143 538 2177 572 0 FreeSans 340 0 0 0 Q
port 7 nsew signal output
flabel locali s 2143 612 2177 646 0 FreeSans 340 0 0 0 Q
port 7 nsew signal output
<< properties >>
string FIXED_BBOX 0 0 2784 814
string GDS_END 889718
string GDS_FILE $PDKPATH/libs.ref/sky130_fd_sc_hvl/gds/sky130_fd_sc_hvl.gds
string GDS_START 861306
string LEFclass CORE
string LEFsite unithv
string LEFsymmetry X Y
<< end >>
